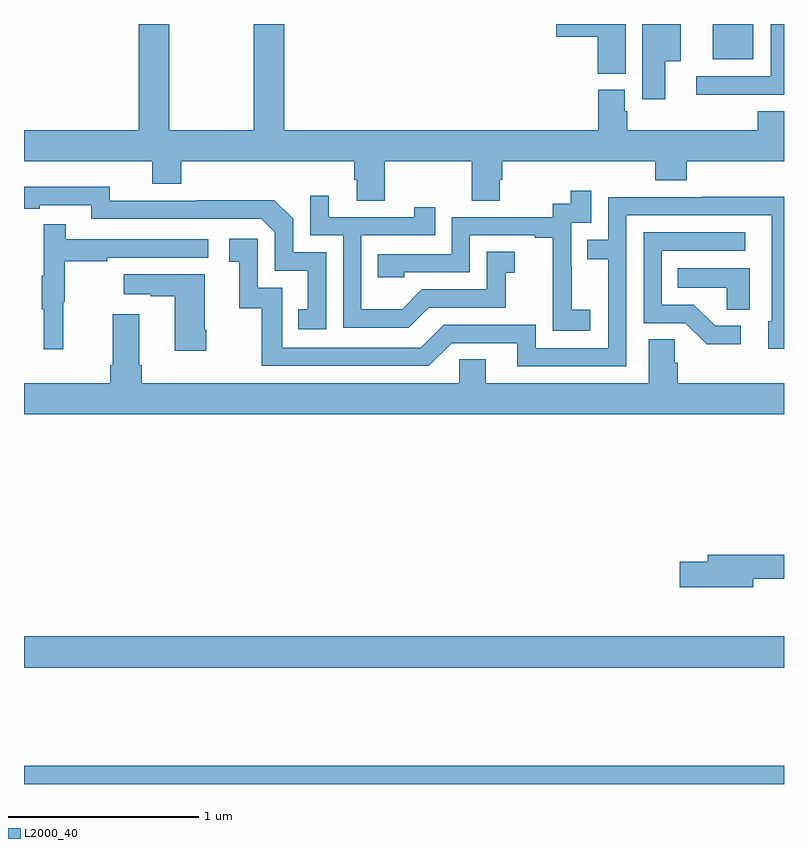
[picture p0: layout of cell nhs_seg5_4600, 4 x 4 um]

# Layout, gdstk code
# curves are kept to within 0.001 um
import gdstk
lib = gdstk.Library(unit=1e-6, precision=1e-09)
def R(c, l, rs):  # rectangles x0, y0, x1, y1
    for r in rs: c.add(gdstk.rectangle(r[:2], r[2:], *l))
def P(c, l, *ps):  # polygons
    for p in ps: c.add(gdstk.Polygon(p, *l))
L2000_40 = (2000, 40)

nhs_seg5_4600 = lib.new_cell('nhs_seg5_4600')
R(nhs_seg5_4600, L2000_40, [(381,870.799,385,870.896), (381,871.412,385,871.576), (384.626,874.613,384.838,874.799)])
P(nhs_seg5_4600, L2000_40, [(382.37,874.799),(382.21,874.799),(382.21,874.24),(381.765,874.24),(381.765,874.799),(381.605,874.799),(381.605,874.24),(381,874.24),(381,874.076),(381.674,874.076),(381.674,873.959),(381.827,873.959),(381.827,874.076),(382.739,874.076),(382.739,873.978),(382.751,873.978),(382.751,873.868),(382.899,873.868),(382.899,874.076),(383.356,874.076),(383.356,873.868),(383.503,873.868),(383.503,873.978),(383.516,873.978),(383.516,874.076),(384.323,874.076),(384.323,873.977),(384.488,873.977),(384.488,874.076),(385,874.076),(385,874.339),(384.863,874.339),(384.863,874.24),(384.176,874.24),(384.176,874.341),(384.163,874.341),(384.163,874.452),(384.023,874.452),(384.023,874.24),(382.37,874.24)],
  [(384.376,874.604),(384.457,874.604),(384.457,874.799),(384.254,874.799),(384.254,874.404),(384.376,874.404)],
  [(385,874.799),(384.929,874.799),(384.929,874.524),(384.537,874.524),(384.537,874.427),(385,874.427)],
  [(384.166,874.799),(383.802,874.799),(383.802,874.733),(384.02,874.733),(384.02,874.537),(384.166,874.537)],
  [(382.59,873.597),(382.416,873.597),(382.416,873.774),(382.318,873.872),(381.91,873.872),(381.91,873.87),(381.45,873.87),(381.45,873.943),(381,873.942),(381,873.826),(381.082,873.826),(381.082,873.846),(381.354,873.846),(381.354,873.774),(382.248,873.774),(382.32,873.702),(382.32,873.501),(382.493,873.501),(382.493,873.297),(382.444,873.297),(382.444,873.192),(382.59,873.192)],
  [(383.98,873.295),(383.882,873.295),(383.882,873.524),(383.88,873.524),(383.88,873.753),(383.985,873.753),(383.985,873.922),(383.877,873.922),(383.877,873.852),(383.784,873.852),(383.784,873.783),(383.25,873.783),(383.25,873.588),(382.861,873.588),(382.861,873.465),(383.001,873.465),(383.001,873.492),(383.346,873.492),(383.346,873.687),(383.687,873.687),(383.687,873.675),(383.783,873.675),(383.783,873.391),(383.782,873.391),(383.782,873.185),(383.98,873.185)],
  [(383.131,873.306),(383.535,873.306),(383.535,873.491),(383.584,873.491),(383.584,873.601),(383.436,873.601),(383.436,873.402),(383.094,873.402),(382.99,873.298),(382.776,873.298),(382.776,873.687),(383.165,873.687),(383.165,873.835),(383.054,873.835),(383.054,873.783),(382.603,873.783),(382.603,873.895),(382.506,873.895),(382.506,873.687),(382.68,873.687),(382.68,873.201),(383.026,873.201)],
  [(384.171,873.792),(384.936,873.792),(384.936,873.234),(384.917,873.234),(384.917,873.09),(385,873.09),(385,873.89),(384.571,873.89),(384.571,873.888),(384.075,873.888),(384.075,873.663),(383.965,873.663),(383.965,873.562),(384.075,873.562),(384.075,873.093),(383.694,873.093),(383.694,873.216),(383.208,873.216),(383.088,873.096),(382.359,873.096),(382.359,873.411),(382.23,873.411),(382.23,873.67),(382.08,873.67),(382.08,873.549),(382.133,873.549),(382.133,873.303),(382.251,873.303),(382.251,873),(383.13,873),(383.25,873.12),(383.597,873.12),(383.597,872.997),(384.171,872.997)],
  [(381.206,873.336),(381.214,873.336),(381.214,873.55),(381.437,873.55),(381.437,873.57),(381.97,873.57),(381.97,873.666),(381.221,873.666),(381.221,873.745),(381.104,873.745),(381.104,873.473),(381.093,873.473),(381.093,873.299),(381.104,873.299),(381.104,873.087),(381.206,873.087)],
  [(384.772,873.21),(384.637,873.21),(384.526,873.321),(384.357,873.321),(384.357,873.606),(384.796,873.606),(384.796,873.702),(384.261,873.702),(384.261,873.225),(384.48,873.225),(384.593,873.113),(384.772,873.113)],
  [(384.82,873.514),(384.442,873.514),(384.442,873.41),(384.699,873.41),(384.699,873.295),(384.82,873.295)],
  [(381.96,873.19),(381.952,873.19),(381.952,873.481),(381.525,873.481),(381.525,873.377),(381.668,873.377),(381.668,873.367),(381.794,873.367),(381.794,873.078),(381.96,873.078)],
  [(385,872.908),(384.44,872.908),(384.44,873.017),(384.426,873.017),(384.426,873.14),(384.287,873.14),(384.287,872.908),(383.431,872.908),(383.431,873.035),(383.292,873.035),(383.292,872.908),(381.62,872.908),(381.62,873.004),(381.607,873.004),(381.607,873.271),(381.467,873.271),(381.467,873.004),(381.455,873.004),(381.455,872.908),(381,872.908),(381,872.744),(385,872.744)],
  [(384.838,871.878),(385,871.878),(385,872.006),(384.599,872.006),(384.599,871.97),(384.45,871.97),(384.45,871.835),(384.838,871.835)])

lib.write_gds('nhs_seg5_4600.gds')
